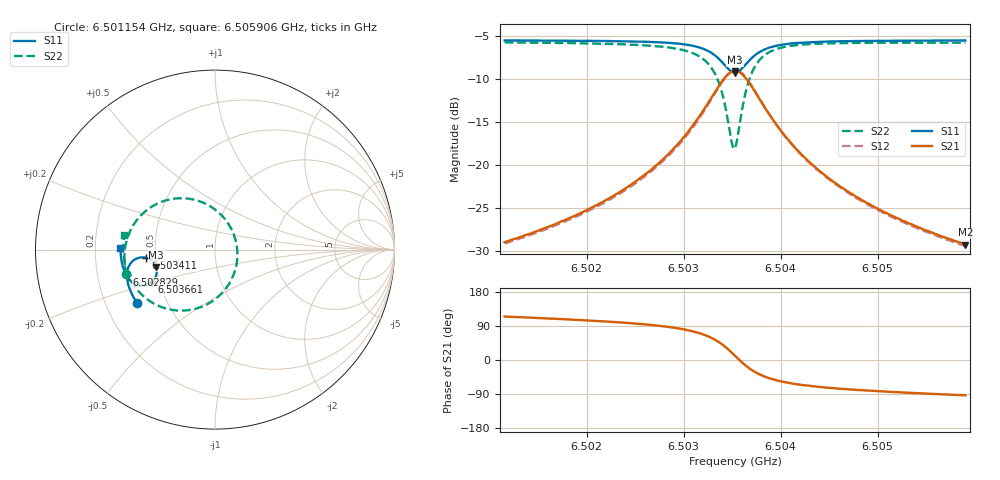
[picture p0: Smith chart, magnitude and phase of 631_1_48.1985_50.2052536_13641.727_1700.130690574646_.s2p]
#  HZ  S  RI  R  50.00
! Rohde & Schwarz Vector Network Analyzer
! Rohde-Schwarz,ZNB20-2Port,1311601062101988,3.16
! Created: UTC 3/20/2024, 12:04:18 PM
! freq[Hz]  re:S11  im:S11  re:S21  im:S21  re:S12  im:S12  re:S22  im:S22
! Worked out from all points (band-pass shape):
!   401 points, 6.501154 GHz to 6.505906 GHz, reference 50 ohm
!   highest |S21| = -9.11 dB at 6.50353 GHz (marker M1); lowest = -29.3 dB at 6.505906 GHz (marker M2)
!   |S21| within 3 dB of the highest: 6.503292 GHz to 6.503768 GHz (475.9 kHz wide, 0.00732 % of centre)
!   lowest |S11| = -9.3 dB at 6.50353 GHz (marker M3), VSWR 2.04, Z = 24.9 - j5.6 ohm
!   |S11| at or under -10 dB: nowhere
!   |S22| runs from -18.2 to -5.8 dB; largest |S21 - S12| = 0.013
!   S11 on the Smith chart (normalised r, x): 6.501154 GHz: 0.34, -0.28; 6.502829 GHz: 0.33, -0.13; 6.503411 GHz: 0.44, -0.05; 6.503661 GHz: 0.46, -0.19; 6.505906 GHz: 0.31, +0.01
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6.501154e9  -0.4359 -0.2959  -0.0149 0.0322  -0.013 0.0324  -0.4948 -0.1373
6.5019499e9  -0.4687 -0.2352  -0.0139 0.0508  -0.0113 0.0504  -0.5048 -0.0492
6.5023895e9  -0.4833 -0.1949  -0.0105 0.0714  -0.00737 0.0702  -0.4997 0.0165
6.5027458e9  -0.4908 -0.1536  -0.000679 0.1021  0.00316 0.0998  -0.4777 0.0926
6.502829e9  -0.491 -0.1419  0.00434 0.113  0.00832 0.11  -0.4667 0.1158
6.503031e9  -0.4862 -0.1077  0.0279 0.1486  0.0317 0.144  -0.418 0.1853
6.5031735e9  -0.471 -0.0778  0.0665 0.183  0.0696 0.1769  -0.3428 0.245
6.5033161e9  -0.4317 -0.048  0.1509 0.2122  0.1518 0.2058  -0.1893 0.2862
6.5034111e9  -0.3836 -0.0458  0.245 0.1948  0.2455 0.19  -0.026 0.2413
6.5034943e9  -0.3393 -0.0763  0.3257 0.1176  0.3287 0.1133  0.103 0.089
6.5035299e9  -0.3282 -0.0994  0.3437 0.0672  0.348 0.0614  0.1245 -0.00581
6.5035537e9  -0.325 -0.1162  0.3473 0.0315  0.3518 0.0243  0.122 -0.0715
6.5035893e9  -0.3273 -0.1412  0.3396 -0.0204  0.3437 -0.03  0.0934 -0.1637
6.5036606e9  -0.3504 -0.1799  0.2912 -0.0992  0.2913 -0.1116  -0.0207 -0.2913
6.5037081e9  -0.3717 -0.1939  0.2497 -0.1289  0.2469 -0.141  -0.1078 -0.3294
6.5037675e9  -0.3976 -0.2009  0.201 -0.1458  0.1955 -0.1565  -0.2033 -0.3394
6.5039219e9  -0.4462 -0.1916  0.1142 -0.1415  0.1068 -0.1473  -0.3596 -0.2895
6.5040883e9  -0.4746 -0.1703  0.0673 -0.1196  0.0605 -0.1223  -0.4356 -0.2209
6.5043258e9  -0.4959 -0.1405  0.0357 -0.0935  0.0304 -0.0941  -0.4809 -0.1458
6.504706e9  -0.5125 -0.0995  0.015 -0.0674  0.0114 -0.0671  -0.5052 -0.0652
6.5051218e9  -0.5212 -0.0602  0.00549 -0.0509  0.003 -0.0502  -0.5111 -0.00356
6.5059059e9  -0.5265 0.00719  -0.0019 -0.0342  -0.00329 -0.0334  -0.5045 0.0827
